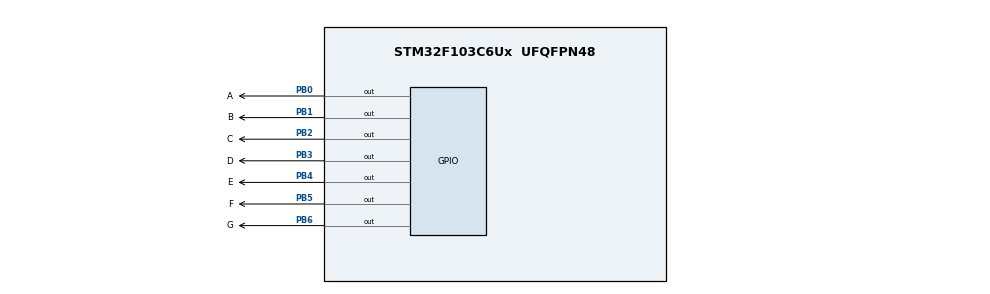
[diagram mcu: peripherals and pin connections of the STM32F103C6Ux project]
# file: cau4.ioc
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Mcu.Family=STM32F1
Mcu.Name=STM32F103C6Ux
Mcu.Package=UFQFPN48
NVIC.PriorityGroup=NVIC_PRIORITYGROUP_4
PB0.GPIO_Label=A
PB0.Signal=GPIO_Output
PB1.GPIO_Label=B
PB1.Signal=GPIO_Output
PB2.GPIO_Label=C
PB2.Signal=GPIO_Output
PB3.GPIO_Label=D
PB3.Signal=GPIO_Output
PB4.GPIO_Label=E
PB4.Signal=GPIO_Output
PB5.GPIO_Label=F
PB5.Signal=GPIO_Output
PB6.GPIO_Label=G
PB6.Signal=GPIO_Output
ProjectManager.HeapSize=0x200
ProjectManager.StackSize=0x400
ProjectManager.TargetToolchain=STM32CubeIDE
RCC.APB1Freq_Value=8000000
RCC.APB2Freq_Value=8000000
board=custom

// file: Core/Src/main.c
/* USER CODE BEGIN Header */
/**
  ******************************************************************************
  * @file           : main.c
  * @brief          : Main program body
  ******************************************************************************
  * @attention
  *
  * Copyright (c) 2022 STMicroelectronics.
  * All rights reserved.
  *
  * This software is licensed under terms that can be found in the LICENSE file
  * in the root directory of this software component.
  * If no LICENSE file comes with this software, it is provided AS-IS.
  *
  ******************************************************************************
  */
/* USER CODE END Header */
#include "main.h"

/* USER CODE BEGIN PV */

int dem = 0;

/* USER CODE END PV */

void SystemClock_Config(void);
static void MX_GPIO_Init(void);
/* USER CODE BEGIN PFP */
void display7SEG(int num)
{
	if (num == 0)
	{
		HAL_GPIO_WritePin(A_GPIO_Port,A_Pin,0);
		HAL_GPIO_WritePin(B_GPIO_Port,B_Pin,0);
		HAL_GPIO_WritePin(C_GPIO_Port,C_Pin,0);
		HAL_GPIO_WritePin(D_GPIO_Port,D_Pin,0);
		HAL_GPIO_WritePin(E_GPIO_Port,E_Pin,0);
		HAL_GPIO_WritePin(F_GPIO_Port,F_Pin,0);
		HAL_GPIO_WritePin(G_GPIO_Port,G_Pin,1);
	}
	if (num == 1)
	{
		HAL_GPIO_WritePin(A_GPIO_Port,A_Pin,1);
		HAL_GPIO_WritePin(B_GPIO_Port,B_Pin,0);
		HAL_GPIO_WritePin(C_GPIO_Port,C_Pin,0);
		HAL_GPIO_WritePin(D_GPIO_Port,D_Pin,1);
		HAL_GPIO_WritePin(E_GPIO_Port,E_Pin,1);
		HAL_GPIO_WritePin(F_GPIO_Port,F_Pin,1);
		HAL_GPIO_WritePin(G_GPIO_Port,G_Pin,1);
	}
	if (num == 2)
	{
		HAL_GPIO_WritePin(A_GPIO_Port,A_Pin,0);
		HAL_GPIO_WritePin(B_GPIO_Port,B_Pin,0);
		HAL_GPIO_WritePin(C_GPIO_Port,C_Pin,1);
		HAL_GPIO_WritePin(D_GPIO_Port,D_Pin,0);
		HAL_GPIO_WritePin(E_GPIO_Port,E_Pin,0);
		HAL_GPIO_WritePin(F_GPIO_Port,F_Pin,1);
		HAL_GPIO_WritePin(G_GPIO_Port,G_Pin,0);
	}
	if (num == 3)
	{
		HAL_GPIO_WritePin(A_GPIO_Port,A_Pin,0);
		HAL_GPIO_WritePin(B_GPIO_Port,B_Pin,0);
		HAL_GPIO_WritePin(C_GPIO_Port,C_Pin,0);
		HAL_GPIO_WritePin(D_GPIO_Port,D_Pin,0);
		HAL_GPIO_WritePin(E_GPIO_Port,E_Pin,1);
		HAL_GPIO_WritePin(F_GPIO_Port,F_Pin,1);
		HAL_GPIO_WritePin(G_GPIO_Port,G_Pin,0);
	}
	if (num == 4)
	{
		HAL_GPIO_WritePin(A_GPIO_Port,A_Pin,1);
		HAL_GPIO_WritePin(B_GPIO_Port,B_Pin,0);
		HAL_GPIO_WritePin(C_GPIO_Port,C_Pin,0);
		HAL_GPIO_WritePin(D_GPIO_Port,D_Pin,1);
		HAL_GPIO_WritePin(E_GPIO_Port,E_Pin,1);
		HAL_GPIO_WritePin(F_GPIO_Port,F_Pin,0);
		HAL_GPIO_WritePin(G_GPIO_Port,G_Pin,0);
	}
	if (num == 5)
	{
		HAL_GPIO_WritePin(A_GPIO_Port,A_Pin,0);
		HAL_GPIO_WritePin(B_GPIO_Port,B_Pin,1);
		HAL_GPIO_WritePin(C_GPIO_Port,C_Pin,0);
		HAL_GPIO_WritePin(D_GPIO_Port,D_Pin,0);
		HAL_GPIO_WritePin(E_GPIO_Port,E_Pin,1);
		HAL_GPIO_WritePin(F_GPIO_Port,F_Pin,0);
		HAL_GPIO_WritePin(G_GPIO_Port,G_Pin,0);
	}
	if (num == 6)
	{
		HAL_GPIO_WritePin(A_GPIO_Port,A_Pin,0);
		HAL_GPIO_WritePin(B_GPIO_Port,B_Pin,1);
		HAL_GPIO_WritePin(C_GPIO_Port,C_Pin,0);
		HAL_GPIO_WritePin(D_GPIO_Port,D_Pin,0);
		HAL_GPIO_WritePin(E_GPIO_Port,E_Pin,0);
		HAL_GPIO_WritePin(F_GPIO_Port,F_Pin,0);
		HAL_GPIO_WritePin(G_GPIO_Port,G_Pin,0);
	}
	if (num == 7)
	{
		HAL_GPIO_WritePin(A_GPIO_Port,A_Pin,0);
		HAL_GPIO_WritePin(B_GPIO_Port,B_Pin,0);
		HAL_GPIO_WritePin(C_GPIO_Port,C_Pin,0);
		HAL_GPIO_WritePin(D_GPIO_Port,D_Pin,1);
		HAL_GPIO_WritePin(E_GPIO_Port,E_Pin,1);
		HAL_GPIO_WritePin(F_GPIO_Port,F_Pin,1);
		HAL_GPIO_WritePin(G_GPIO_Port,G_Pin,1);
	}
	if (num == 8)
	{
		HAL_GPIO_WritePin(A_GPIO_Port,A_Pin,0);
		HAL_GPIO_WritePin(B_GPIO_Port,B_Pin,0);
		HAL_GPIO_WritePin(C_GPIO_Port,C_Pin,0);
		HAL_GPIO_WritePin(D_GPIO_Port,D_Pin,0);
		HAL_GPIO_WritePin(E_GPIO_Port,E_Pin,0);
		HAL_GPIO_WritePin(F_GPIO_Port,F_Pin,0);
		HAL_GPIO_WritePin(G_GPIO_Port,G_Pin,0);
	}
	if (num == 9)
	{
		HAL_GPIO_WritePin(A_GPIO_Port,A_Pin,0);
		HAL_GPIO_WritePin(B_GPIO_Port,B_Pin,0);
		HAL_GPIO_WritePin(C_GPIO_Port,C_Pin,0);
		HAL_GPIO_WritePin(D_GPIO_Port,D_Pin,0);
		HAL_GPIO_WritePin(E_GPIO_Port,E_Pin,1);
		HAL_GPIO_WritePin(F_GPIO_Port,F_Pin,0);
		HAL_GPIO_WritePin(G_GPIO_Port,G_Pin,0);
	}
}
/* USER CODE END PFP */

int main(void)
{

  /* MCU Configuration--------------------------------------------------------*/

  /* Reset of all peripherals, Initializes the Flash interface and the Systick. */
  HAL_Init();

  /* Configure the system clock */
  SystemClock_Config();

  /* Initialize all configured peripherals */
  MX_GPIO_Init();

  /* Infinite loop */
  /* USER CODE BEGIN WHILE */
  while (1)
  {
	  if( dem >= 10) dem = 0;
	  display7SEG (dem);
	  dem++;
	  HAL_Delay (1000);

    /* USER CODE END WHILE */

  }
}

void SystemClock_Config(void)
{
  RCC_OscInitTypeDef RCC_OscInitStruct = {0};
  RCC_ClkInitTypeDef RCC_ClkInitStruct = {0};

  /** Initializes the RCC Oscillators according to the specified parameters
  * in the RCC_OscInitTypeDef structure.
  */
  RCC_OscInitStruct.OscillatorType = RCC_OSCILLATORTYPE_HSI;
  RCC_OscInitStruct.HSIState = RCC_HSI_ON;
  RCC_OscInitStruct.HSICalibrationValue = RCC_HSICALIBRATION_DEFAULT;
  RCC_OscInitStruct.PLL.PLLState = RCC_PLL_NONE;
  if (HAL_RCC_OscConfig(&RCC_OscInitStruct) != HAL_OK)
  {
    Error_Handler();
  }

  /** Initializes the CPU, AHB and APB buses clocks
  */
  RCC_ClkInitStruct.ClockType = RCC_CLOCKTYPE_HCLK|RCC_CLOCKTYPE_SYSCLK
                              |RCC_CLOCKTYPE_PCLK1|RCC_CLOCKTYPE_PCLK2;
  RCC_ClkInitStruct.SYSCLKSource = RCC_SYSCLKSOURCE_HSI;
  RCC_ClkInitStruct.AHBCLKDivider = RCC_SYSCLK_DIV1;
  RCC_ClkInitStruct.APB1CLKDivider = RCC_HCLK_DIV1;
  RCC_ClkInitStruct.APB2CLKDivider = RCC_HCLK_DIV1;

  if (HAL_RCC_ClockConfig(&RCC_ClkInitStruct, FLASH_LATENCY_0) != HAL_OK)
  {
    Error_Handler();
  }
}

static void MX_GPIO_Init(void)
{
  GPIO_InitTypeDef GPIO_InitStruct = {0};

  /* GPIO Ports Clock Enable */
  __HAL_RCC_GPIOB_CLK_ENABLE();

  /*Configure GPIO pin Output Level */
  HAL_GPIO_WritePin(GPIOB, A_Pin|B_Pin|C_Pin|D_Pin
                          |E_Pin|F_Pin|G_Pin, GPIO_PIN_RESET);

  /*Configure GPIO pins : A_Pin B_Pin C_Pin D_Pin
                           E_Pin F_Pin G_Pin */
  GPIO_InitStruct.Pin = A_Pin|B_Pin|C_Pin|D_Pin
                          |E_Pin|F_Pin|G_Pin;
  GPIO_InitStruct.Mode = GPIO_MODE_OUTPUT_PP;
  GPIO_InitStruct.Pull = GPIO_NOPULL;
  GPIO_InitStruct.Speed = GPIO_SPEED_FREQ_LOW;
  HAL_GPIO_Init(GPIOB, &GPIO_InitStruct);

}

void Error_Handler(void)
{
  __disable_irq();
  while (1)
  {
  }
}
